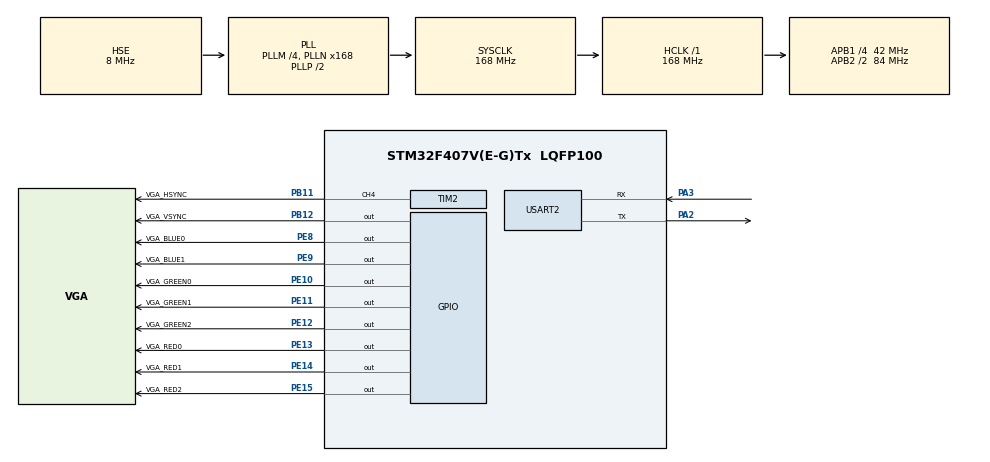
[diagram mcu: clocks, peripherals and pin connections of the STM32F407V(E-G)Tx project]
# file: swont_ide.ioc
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Dma.Request0=TIM1_UP
Dma.TIM1_UP.0.Direction=DMA_MEMORY_TO_PERIPH
Dma.TIM1_UP.0.FIFOMode=DMA_FIFOMODE_DISABLE
Dma.TIM1_UP.0.Instance=DMA2_Stream5
Dma.TIM1_UP.0.MemDataAlignment=DMA_MDATAALIGN_BYTE
Dma.TIM1_UP.0.MemInc=DMA_MINC_ENABLE
Dma.TIM1_UP.0.Mode=DMA_NORMAL
Dma.TIM1_UP.0.PeriphDataAlignment=DMA_PDATAALIGN_BYTE
Dma.TIM1_UP.0.PeriphInc=DMA_PINC_DISABLE
Dma.TIM1_UP.0.Priority=DMA_PRIORITY_VERY_HIGH
Mcu.Family=STM32F4
Mcu.Name=STM32F407V(E-G)Tx
Mcu.Package=LQFP100
NVIC.DMA2_Stream5_IRQn=true\:0\:0\:false\:false\:true\:false\:true\:true
NVIC.PriorityGroup=NVIC_PRIORITYGROUP_4
NVIC.TIM2_IRQn=true\:0\:0\:true\:false\:true\:true\:true\:true
NVIC.USART2_IRQn=true\:0\:0\:false\:false\:true\:true\:true\:true
PA13.Mode=Serial_Wire
PA13.Signal=SYS_JTMS-SWDIO
PA14.Mode=Serial_Wire
PA14.Signal=SYS_JTCK-SWCLK
PA2.Mode=Asynchronous
PA2.Signal=USART2_TX
PA3.Mode=Asynchronous
PA3.Signal=USART2_RX
PB11.GPIO_Label=VGA_HSYNC
PB11.GPIO_Speed=GPIO_SPEED_FREQ_VERY_HIGH
PB11.Signal=S_TIM2_CH4
PB12.GPIO_Label=VGA_VSYNC
PB12.GPIO_PuPd=GPIO_NOPULL
PB12.GPIO_Speed=GPIO_SPEED_FREQ_VERY_HIGH
PB12.Signal=GPIO_Output
PE10.GPIO_Label=VGA_GREEN0
PE10.GPIO_PuPd=GPIO_NOPULL
PE10.GPIO_Speed=GPIO_SPEED_FREQ_VERY_HIGH
PE10.Signal=GPIO_Output
PE11.GPIO_Label=VGA_GREEN1
PE11.GPIO_PuPd=GPIO_NOPULL
PE11.GPIO_Speed=GPIO_SPEED_FREQ_VERY_HIGH
PE11.Signal=GPIO_Output
PE12.GPIO_Label=VGA_GREEN2
PE12.GPIO_PuPd=GPIO_NOPULL
PE12.GPIO_Speed=GPIO_SPEED_FREQ_VERY_HIGH
PE12.Signal=GPIO_Output
PE13.GPIO_Label=VGA_RED0
PE13.GPIO_PuPd=GPIO_NOPULL
PE13.GPIO_Speed=GPIO_SPEED_FREQ_VERY_HIGH
PE13.Signal=GPIO_Output
PE14.GPIO_Label=VGA_RED1
PE14.GPIO_PuPd=GPIO_NOPULL
PE14.GPIO_Speed=GPIO_SPEED_FREQ_VERY_HIGH
PE14.Signal=GPIO_Output
PE15.GPIO_Label=VGA_RED2
PE15.GPIO_PuPd=GPIO_NOPULL
PE15.GPIO_Speed=GPIO_SPEED_FREQ_VERY_HIGH
PE15.Signal=GPIO_Output
PE8.GPIO_Label=VGA_BLUE0
PE8.GPIO_PuPd=GPIO_NOPULL
PE8.GPIO_Speed=GPIO_SPEED_FREQ_VERY_HIGH
PE8.Signal=GPIO_Output
PE9.GPIO_Label=VGA_BLUE1
PE9.GPIO_PuPd=GPIO_NOPULL
PE9.GPIO_Speed=GPIO_SPEED_FREQ_VERY_HIGH
PE9.Signal=GPIO_Output
PH0-OSC_IN.Mode=HSE-External-Oscillator
PH0-OSC_IN.Signal=RCC_OSC_IN
PH1-OSC_OUT.Mode=HSE-External-Oscillator
PH1-OSC_OUT.Signal=RCC_OSC_OUT
ProjectManager.HeapSize=0x200
ProjectManager.StackSize=0x400
ProjectManager.TargetToolchain=CMake
RCC.48MHZClocksFreq_Value=84000000
RCC.AHBFreq_Value=168000000
RCC.APB1CLKDivider=RCC_HCLK_DIV4
RCC.APB1Freq_Value=42000000
RCC.APB1TimFreq_Value=84000000
RCC.APB2CLKDivider=RCC_HCLK_DIV2
RCC.APB2Freq_Value=84000000
RCC.APB2TimFreq_Value=168000000
RCC.CortexFreq_Value=168000000
RCC.HCLKFreq_Value=168000000
RCC.HSE_VALUE=8000000
RCC.HSI_VALUE=16000000
RCC.LSE_VALUE=32768
RCC.PLLM=4
RCC.PLLN=168
RCC.PLLSourceVirtual=RCC_PLLSOURCE_HSE
RCC.SYSCLKFreq_VALUE=168000000
RCC.SYSCLKSource=RCC_SYSCLKSOURCE_PLLCLK
RCC.VCOOutputFreq_Value=336000000
SH.S_TIM2_CH4.0=TIM2_CH4,PWM Generation4 CH4
TIM1.Period=VGA_TIM1_PERIODE
TIM1.Prescaler=VGA_TIM1_PRESCALE
TIM2.AutoReloadPreload=TIM_AUTORELOAD_PRELOAD_DISABLE
TIM2.Channel-PWM\ Generation3\ No\ Output=TIM_CHANNEL_3
TIM2.Channel-PWM\ Generation4\ CH4=TIM_CHANNEL_4
TIM2.OCPolarity_3=TIM_OCPOLARITY_LOW
TIM2.OCPolarity_4=TIM_OCPOLARITY_LOW
TIM2.Period=VGA_TIM2_HSYNC_PERIODE
TIM2.Prescaler=VGA_TIM2_HSYNC_PRESCALE
TIM2.Pulse-PWM\ Generation3\ No\ Output=VGA_TIM2_HTRIGGER_START - VGA_TIM2_DMA_DELAY
TIM2.Pulse-PWM\ Generation4\ CH4=VGA_TIM2_HSYNC_IMP
USART2.VirtualMode=VM_ASYNC
VP_TIM1_VS_ClockSourceINT.Mode=Internal
VP_TIM2_VS_no_output3.Mode=PWM Generation3 No Output
board=custom

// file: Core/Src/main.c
/* USER CODE BEGIN Header */
/**
  ******************************************************************************
  * @file           : main.c
  * @brief          : Main program body
  ******************************************************************************
  * @attention
  *
  * <h2><center>&copy; Copyright (c) 2020 STMicroelectronics.
  * All rights reserved.</center></h2>
  *
  * This software component is licensed by ST under BSD 3-Clause license,
  * the "License"; You may not use this file except in compliance with the
  * License. You may obtain a copy of the License at:
  *                        opensource.org/licenses/BSD-3-Clause
  *
  ******************************************************************************
  */
/* USER CODE END Header */
#include "main.h"
#include "dma.h"
#include "tim.h"
#include "usart.h"
#include "gpio.h"

/* USER CODE BEGIN PV */
input_vars input;

volatile char container[1024];
volatile int temp;
volatile int key;

/* USER CODE END PV */

void SystemClock_Config(void);

int main(void)
{

  /* MCU Configuration--------------------------------------------------------*/

  /* Reset of all peripherals, Initializes the Flash interface and the Systick. */
  HAL_Init();

  /* Configure the system clock */
  SystemClock_Config();

  /* Initialize all configured peripherals */
  MX_GPIO_Init();
  MX_DMA_Init();
  MX_TIM1_Init();
  MX_TIM2_Init();
  MX_USART2_UART_Init();
  /* USER CODE BEGIN 2 */

  UB_VGA_Screen_Init(); // Init VGA-Screen

  UB_VGA_FillScreen(VGA_COL_WHITE);
  UB_VGA_SetPixel(10,10,10);
  UB_VGA_SetPixel(0,0,0x00);
  UB_VGA_SetPixel(319,0,0x00);

  int i;

  for(i = 0; i < LINE_BUFLEN; i++)
	  input.line_rx_buffer[i] = 0;

  // Reset some stuff
  input.byte_buffer_rx[0] = 0;
  input.char_counter = 0;
  input.command_execute_flag = FALSE;

  // HAl wants a memory location to store the charachter it receives from the UART
  // We will pass it an array, but we will not use it. We declare our own variable in the interupt handler
  // See stm32f4xx_it.c
  HAL_UART_Receive_IT(&huart2, input.byte_buffer_rx, BYTE_BUFLEN);

  // Test to see if the screen reacts to UART
  unsigned char colorTest = TRUE;

  /* USER CODE END 2 */

  /* Infinite loop */
  /* USER CODE BEGIN WHILE */
  while (1)
  {
	  if(input.command_execute_flag == TRUE)
	  {
		  // Do some stuff
		  printf("yes\n");
		  colorTest = ~colorTest; // Toggle screen color
		  UB_VGA_FillScreen(colorTest);

		  // When finished reset the flag
		  input.command_execute_flag = FALSE;
	  }
    /* USER CODE END WHILE */

  }
}

void SystemClock_Config(void)
{
  RCC_OscInitTypeDef RCC_OscInitStruct = {0};
  RCC_ClkInitTypeDef RCC_ClkInitStruct = {0};

  /** Configure the main internal regulator output voltage
  */
  __HAL_RCC_PWR_CLK_ENABLE();
  __HAL_PWR_VOLTAGESCALING_CONFIG(PWR_REGULATOR_VOLTAGE_SCALE1);

  /** Initializes the RCC Oscillators according to the specified parameters
  * in the RCC_OscInitTypeDef structure.
  */
  RCC_OscInitStruct.OscillatorType = RCC_OSCILLATORTYPE_HSE;
  RCC_OscInitStruct.HSEState = RCC_HSE_ON;
  RCC_OscInitStruct.PLL.PLLState = RCC_PLL_ON;
  RCC_OscInitStruct.PLL.PLLSource = RCC_PLLSOURCE_HSE;
  RCC_OscInitStruct.PLL.PLLM = 4;
  RCC_OscInitStruct.PLL.PLLN = 168;
  RCC_OscInitStruct.PLL.PLLP = RCC_PLLP_DIV2;
  RCC_OscInitStruct.PLL.PLLQ = 4;
  if (HAL_RCC_OscConfig(&RCC_OscInitStruct) != HAL_OK)
  {
    Error_Handler();
  }

  /** Initializes the CPU, AHB and APB buses clocks
  */
  RCC_ClkInitStruct.ClockType = RCC_CLOCKTYPE_HCLK|RCC_CLOCKTYPE_SYSCLK
                              |RCC_CLOCKTYPE_PCLK1|RCC_CLOCKTYPE_PCLK2;
  RCC_ClkInitStruct.SYSCLKSource = RCC_SYSCLKSOURCE_PLLCLK;
  RCC_ClkInitStruct.AHBCLKDivider = RCC_SYSCLK_DIV1;
  RCC_ClkInitStruct.APB1CLKDivider = RCC_HCLK_DIV4;
  RCC_ClkInitStruct.APB2CLKDivider = RCC_HCLK_DIV2;

  if (HAL_RCC_ClockConfig(&RCC_ClkInitStruct, FLASH_LATENCY_5) != HAL_OK)
  {
    Error_Handler();
  }
}

/* USER CODE BEGIN 4 */

#ifdef __GNUC__
	#define USART_PRINTF int __io_putchar(int ch)		//With GCC/RAISONANCE printf calls __io_putchar()
#else
	#define USART_PRINTF int fputc(int ch, FILE *f)		//With other compiler printf calls fputc()
#endif /* __GNUC__ */

//Retargets the C library printf function to the USART
USART_PRINTF
{
	HAL_UART_Transmit(&huart2, (uint8_t *)&ch, 1, 0xFFFF);	//Write character to UART2
	return ch;												//Return the character
}

/* USER CODE END 4 */

void Error_Handler(void)
{
}
